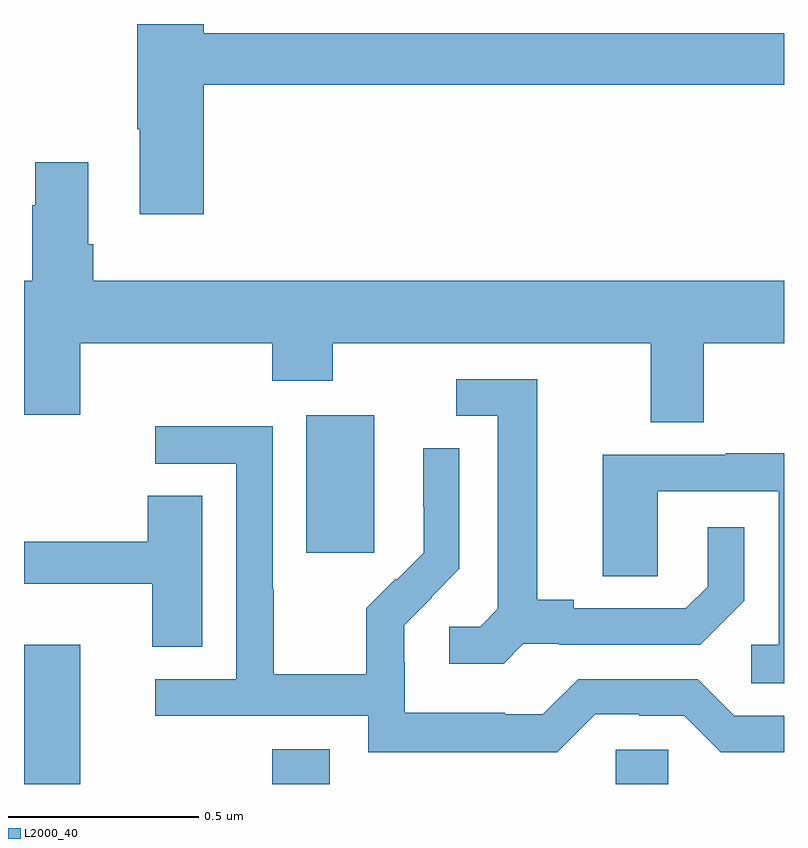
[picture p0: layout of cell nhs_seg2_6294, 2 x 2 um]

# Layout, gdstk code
import gdstk
lib = gdstk.Library(unit=1e-6, precision=1e-09)
def R(c, l, rs):  # rectangles x0, y0, x1, y1
    for r in rs: c.add(gdstk.rectangle(r[:2], r[2:], *l))
def P(c, l, *ps):  # polygons
    for p in ps: c.add(gdstk.Polygon(p, *l))
L2000_40 = (2000, 40)

nhs_seg2_6294 = lib.new_cell('nhs_seg2_6294')
R(nhs_seg2_6294, L2000_40, [(189,655.8,189.148,656.167), (189.653,655.8,189.805,655.891), (190.557,655.8,190.695,655.89), (189.743,656.409,189.922,656.77)])
P(nhs_seg2_6294, L2000_40, [(189.473,657.64),(191,657.64),(191,657.776),(189.473,657.776),(189.473,657.8),(189.298,657.8),(189.298,657.523),(189.305,657.523),(189.305,657.3),(189.473,657.3)],
  [(189.169,657.22),(189.169,657.436),(189.029,657.436),(189.029,657.323),(189.022,657.323),(189.022,657.124),(189,657.124),(189,656.772),(189.148,656.772),(189.148,656.96),(189.653,656.96),(189.653,656.861),(189.813,656.861),(189.813,656.96),(190.649,656.96),(190.649,656.752),(190.789,656.752),(190.789,656.96),(191,656.96),(191,657.124),(189.182,657.124),(189.182,657.22)],
  [(190.314,656.169),(190.408,656.169),(190.408,656.166),(190.78,656.166),(190.896,656.282),(190.896,656.476),(190.799,656.476),(190.799,656.319),(190.742,656.262),(190.447,656.262),(190.447,656.285),(190.351,656.285),(190.351,656.865),(190.137,656.865),(190.137,656.769),(190.247,656.769),(190.247,656.261),(190.2,656.214),(190.119,656.214),(190.119,656.117),(190.262,656.117)],
  [(190.503,655.983),(190.619,655.983),(190.619,655.98),(190.737,655.98),(190.833,655.884),(191,655.884),(191,655.98),(190.869,655.98),(190.773,656.076),(190.458,656.076),(190.365,655.983),(190.265,655.983),(190.265,655.987),(190.002,655.987),(190.002,656.121),(190,656.121),(190,656.218),(190.074,656.292),(190.073,656.293),(190.146,656.366),(190.146,656.684),(190.05,656.684),(190.05,656.53),(190.052,656.53),(190.052,656.408),(189.981,656.337),(189.978,656.34),(189.901,656.263),(189.901,656.089),(189.657,656.089),(189.657,656.312),(189.654,656.312),(189.654,656.742),(189.345,656.742),(189.345,656.643),(189.558,656.643),(189.558,656.076),(189.345,656.076),(189.345,655.98),(189.906,655.98),(189.906,655.883),(190.403,655.883)],
  [(191,656.671),(190.847,656.671),(190.847,656.667),(190.523,656.667),(190.523,656.347),(190.668,656.347),(190.668,656.571),(190.986,656.571),(190.986,656.166),(190.914,656.166),(190.914,656.065),(191,656.065)],
  [(189.469,656.558),(189.326,656.558),(189.326,656.437),(189,656.437),(189,656.327),(189.338,656.327),(189.338,656.161),(189.469,656.161)])

lib.write_gds('nhs_seg2_6294.gds')
